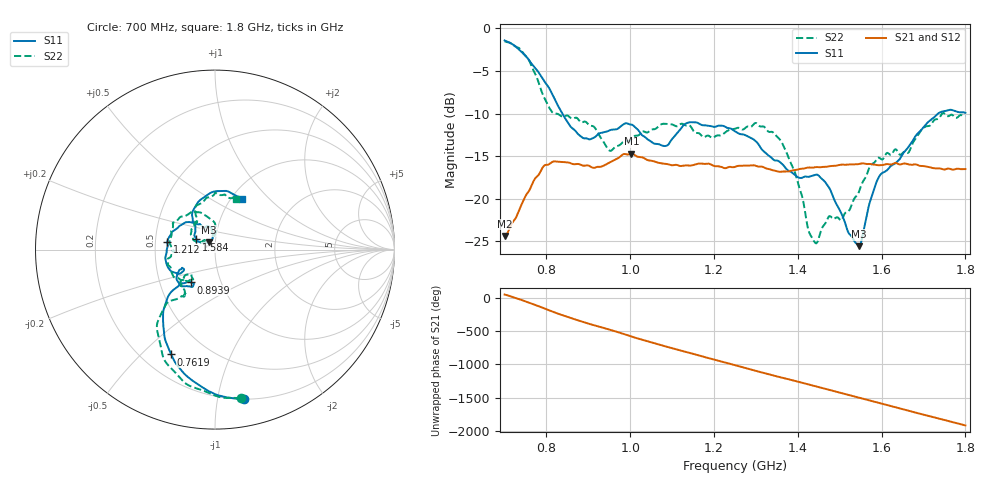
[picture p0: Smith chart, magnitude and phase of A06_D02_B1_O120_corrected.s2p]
! Created with skrf 1.9.0 (http://scikit-rf.org).
# Hz S RI R 50.0
!freq ReS11 ImS11 ReS21 ImS21 ReS12 ImS12 ReS22 ImS22
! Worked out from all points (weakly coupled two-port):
!   1601 points, 700 MHz to 1.8 GHz, reference 50 ohm
!   highest |S21| = -14.71 dB at 1.002 GHz (marker M1); lowest = -24.4 dB at 700.7 MHz (marker M2)
!   lowest |S11| = -25.6 dB at 1.546 GHz (marker M3), VSWR 1.11, Z = 46.6 + j3.82 ohm
!   |S11| at or under -10 dB: 837.9 MHz to 1.735 GHz (896.8 MHz wide, 69.7 % of centre)
!   |S22| runs from -25.2 to -1.5 dB; largest |S21 - S12| = 0.0035
!   S11 on the Smith chart (normalised r, x): 700 MHz: 0.20, -1.19; 761.9 MHz: 0.32, -0.62; 893.9 MHz: 0.72, -0.28; 1.212 GHz: 0.58, +0.05; 1.584 GHz: 0.81, +0.09; 1.8 GHz: 1.12, +0.70
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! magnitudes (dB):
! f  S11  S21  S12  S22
! 700 MHz  -1.4  -24.3  -24.1  -1.5
! 700.7 MHz  -1.4  -24.4  -24.1  -1.5
! 761.9 MHz  -4.0  -18.7  -18.7  -4.1
! 812.8 MHz  -7.6  -15.7  -15.7  -9.8
! 883.6 MHz  -12.7  -16.1  -15.9  -11.0
! 893.9 MHz  -12.9  -16.1  -16.2  -11.0
! 950.9 MHz  -12.0  -15.7  -15.7  -14.4
! 1.002 GHz  -11.3  -14.7  -14.8  -13.0
! 1.067 GHz  -13.6  -15.8  -15.7  -11.5
! 1.137 GHz  -11.1  -16.1  -16.1  -11.4
! 1.212 GHz  -11.4  -16.2  -16.2  -12.6
! 1.25 GHz  -12.1  -16.3  -16.2  -11.8
! 1.359 GHz  -15.7  -16.8  -16.8  -13.1
! 1.394 GHz  -17.3  -16.6  -16.6  -17.1
! 1.434 GHz  -17.3  -16.4  -16.3  -24.5
! 1.471 GHz  -18.4  -16.2  -16.2  -22.4
! 1.505 GHz  -21.8  -16.0  -16.0  -22.4
! 1.546 GHz  -25.6  -15.9  -15.9  -19.1
! 1.584 GHz  -18.5  -16.0  -16.0  -15.7
! 1.617 GHz  -16.4  -16.0  -15.9  -14.7
! 1.735 GHz  -10.0  -16.4  -16.5  -10.6
! 1.8 GHz  -9.9  -16.5  -16.5  -10.3
